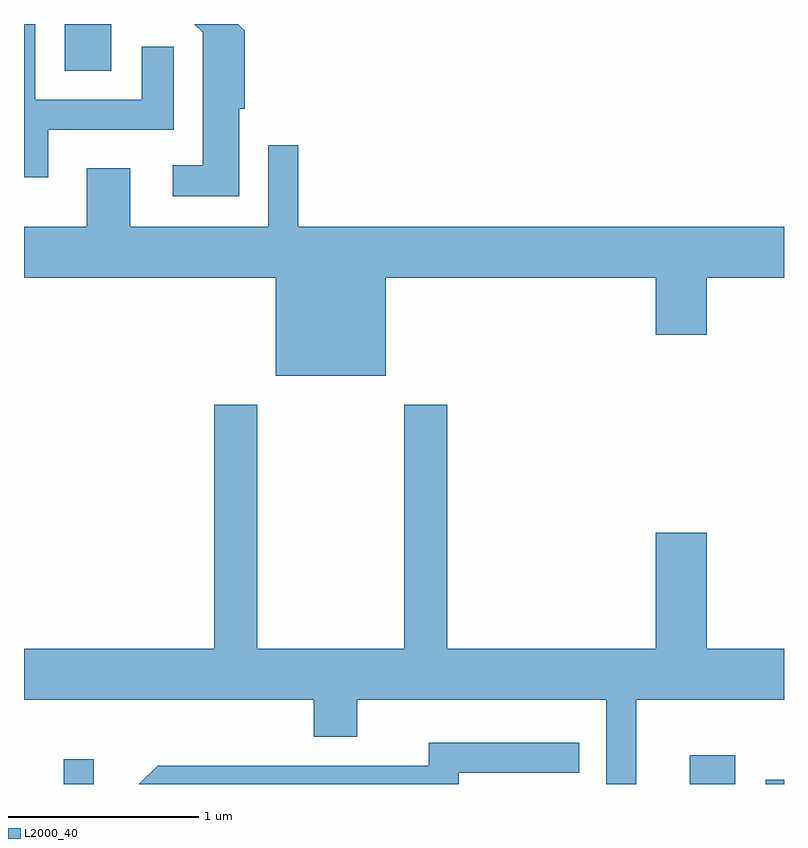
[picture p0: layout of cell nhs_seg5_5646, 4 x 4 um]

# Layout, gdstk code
import gdstk
lib = gdstk.Library(unit=1e-6, precision=1e-09)
def R(c, l, rs):  # rectangles x0, y0, x1, y1
    for r in rs: c.add(gdstk.rectangle(r[:2], r[2:], *l))
def P(c, l, *ps):  # polygons
    for p in ps: c.add(gdstk.Polygon(p, *l))
L2000_40 = (2000, 40)

nhs_seg5_5646 = lib.new_cell('nhs_seg5_5646')
R(nhs_seg5_5646, L2000_40, [(351.821,1514.072,351.979,1514.203), (355.116,1514.072,355.354,1514.224), (355.516,1514.072,355.611,1514.094), (351.826,1517.826,352.069,1518.072)])
P(nhs_seg5_5646, L2000_40, [(351.739,1517.516),(352.399,1517.516),(352.399,1517.953),(352.231,1517.953),(352.231,1517.674),(351.669,1517.674),(351.669,1518.072),(351.611,1518.072),(351.611,1517.266),(351.739,1517.266)],
  [(352.744,1517.626),(352.774,1517.626),(352.774,1518.037),(352.739,1518.072),(352.508,1518.072),(352.551,1518.029),(352.551,1517.329),(352.393,1517.329),(352.393,1517.166),(352.744,1517.166)],
  [(352.936,1516.221),(353.514,1516.221),(353.514,1516.736),(354.936,1516.736),(354.936,1516.436),(355.204,1516.436),(355.204,1516.736),(355.611,1516.736),(355.611,1517.004),(353.054,1517.004),(353.054,1517.433),(352.896,1517.433),(352.896,1517.004),(352.169,1517.004),(352.169,1517.314),(351.941,1517.314),(351.941,1517.004),(351.611,1517.004),(351.611,1516.736),(352.936,1516.736)],
  [(354.834,1514.516),(355.611,1514.516),(355.611,1514.784),(355.204,1514.784),(355.204,1515.394),(354.936,1515.394),(354.936,1514.784),(353.839,1514.784),(353.839,1516.069),(353.611,1516.069),(353.611,1514.784),(352.839,1514.784),(352.839,1516.069),(352.611,1516.069),(352.611,1514.784),(351.611,1514.784),(351.611,1514.516),(353.136,1514.516),(353.136,1514.321),(353.364,1514.321),(353.364,1514.516),(354.676,1514.516),(354.676,1514.072),(354.834,1514.072)],
  [(353.899,1514.131),(354.533,1514.131),(354.533,1514.289),(353.741,1514.289),(353.741,1514.169),(352.314,1514.169),(352.216,1514.072),(353.899,1514.072)])

lib.write_gds('nhs_seg5_5646.gds')
